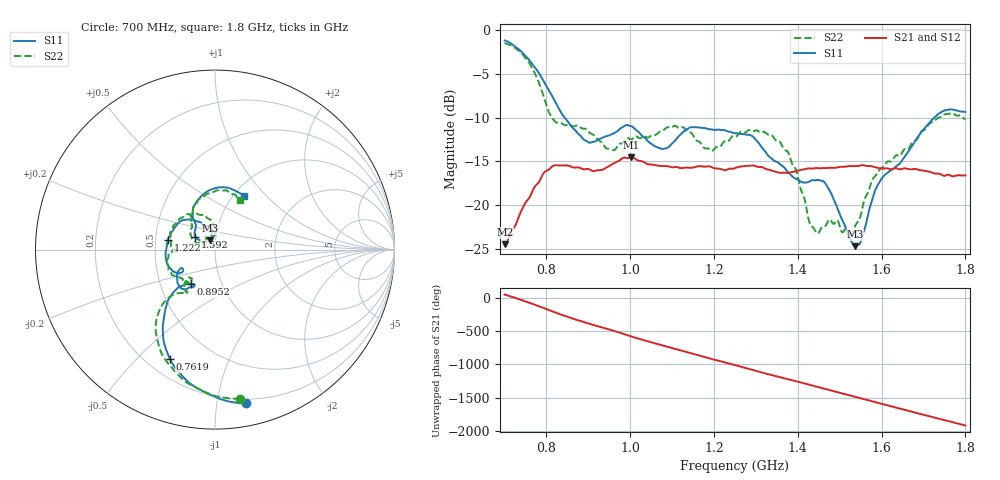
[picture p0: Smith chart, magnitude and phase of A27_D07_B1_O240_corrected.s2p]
! Created with skrf 1.9.0 (http://scikit-rf.org).
# Hz S RI R 50.0
!freq ReS11 ImS11 ReS21 ImS21 ReS12 ImS12 ReS22 ImS22
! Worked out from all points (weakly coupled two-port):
!   1601 points, 700 MHz to 1.8 GHz, reference 50 ohm
!   highest |S21| = -14.54 dB at 1.002 GHz (marker M1); lowest = -24.5 dB at 700.7 MHz (marker M2)
!   lowest |S11| = -24.7 dB at 1.537 GHz (marker M3), VSWR 1.12, Z = 47.1 + j4.88 ohm
!   |S11| at or under -10 dB: 842.9 MHz to 1.726 GHz (882.6 MHz wide, 68.7 % of centre)
!   |S22| runs from -23.9 to -1.5 dB; largest |S21 - S12| = 0.0035
!   S11 on the Smith chart (normalised r, x): 700 MHz: 0.17, -1.21; 761.9 MHz: 0.29, -0.63; 895.2 MHz: 0.72, -0.29; 1.222 GHz: 0.58, +0.07; 1.592 GHz: 0.79, +0.12; 1.8 GHz: 1.12, +0.76
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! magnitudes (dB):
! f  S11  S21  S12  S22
! 700 MHz  -1.2  -24.5  -24.3  -1.5
! 700.7 MHz  -1.2  -24.5  -24.2  -1.5
! 761.9 MHz  -3.6  -18.9  -18.8  -4.0
! 816.9 MHz  -7.8  -15.5  -15.6  -10.3
! 883.6 MHz  -12.2  -15.8  -15.7  -11.2
! 895.2 MHz  -12.7  -15.9  -16.0  -11.3
! 957.1 MHz  -11.9  -15.3  -15.3  -13.7
! 1.002 GHz  -11.0  -14.5  -14.6  -12.5
! 1.067 GHz  -13.4  -15.5  -15.5  -11.7
! 1.144 GHz  -11.1  -15.8  -15.8  -11.7
! 1.192 GHz  -11.3  -15.6  -15.6  -13.8
! 1.222 GHz  -11.4  -16.0  -16.0  -12.9
! 1.25 GHz  -11.8  -15.8  -15.7  -12.2
! 1.357 GHz  -15.3  -16.3  -16.3  -12.8
! 1.396 GHz  -17.0  -16.1  -16.1  -16.0
! 1.434 GHz  -17.2  -15.8  -15.8  -22.5
! 1.468 GHz  -17.7  -15.8  -15.8  -22.2
! 1.537 GHz  -24.7  -15.5  -15.6  -22.4
! 1.592 GHz  -17.6  -15.8  -15.8  -16.2
! 1.617 GHz  -16.2  -15.9  -15.8  -15.0
! 1.733 GHz  -9.7  -16.4  -16.4  -10.1
! 1.8 GHz  -9.4  -16.6  -16.6  -10.2
